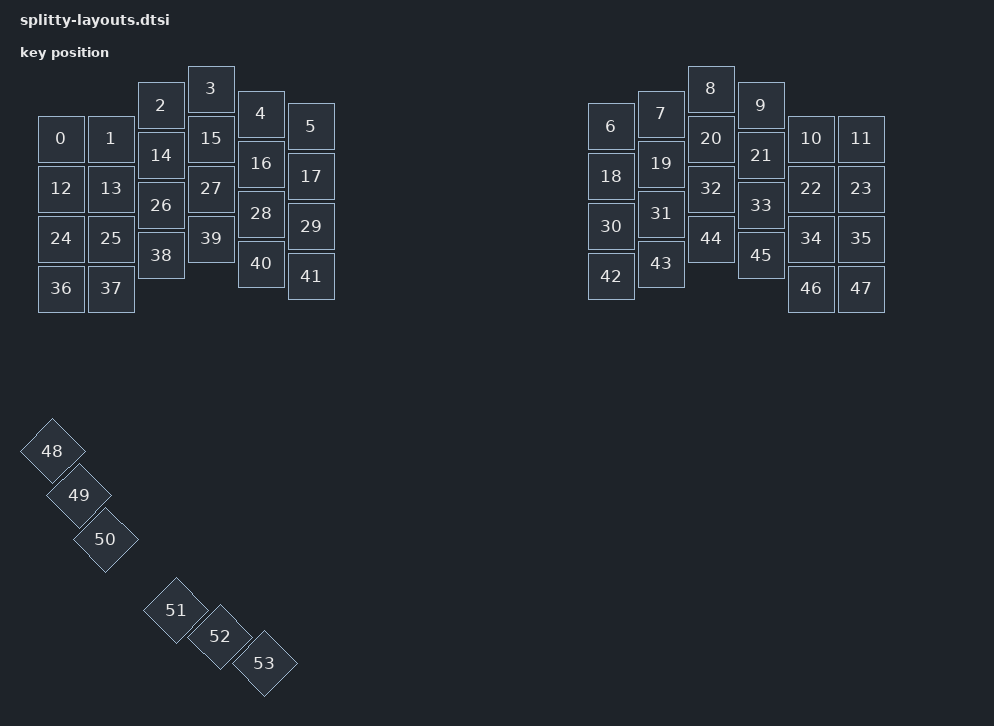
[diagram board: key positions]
#include <physical_layouts.dtsi>

/ {
  default_layout: default_layout {
    compatible = "zmk,physical-layout";
    display-name = "Default Layout";

    keys =  //               w   h    x    y     rot    rx    ry
      // Row 1 (Left)
      <&key_physical_attrs 100 100   0 100     0   0   0>,
      <&key_physical_attrs 100 100 100 100     0   0   0>,
      <&key_physical_attrs 100 100 200  33     0   0   0>,
      <&key_physical_attrs 100 100 300   0     0   0   0>,
      <&key_physical_attrs 100 100 400  50     0   0   0>,
      <&key_physical_attrs 100 100 500  75     0   0   0>,

      // Row 1 (Right)
      <&key_physical_attrs 100 100 1100  75     0   0   0>,
      <&key_physical_attrs 100 100 1200  50     0   0   0>,
      <&key_physical_attrs 100 100 1300   0     0   0   0>,
      <&key_physical_attrs 100 100 1400  33     0   0   0>,
      <&key_physical_attrs 100 100 1500 100     0   0   0>,
      <&key_physical_attrs 100 100 1600 100     0   0   0>,
      
      // Row 2 (Left)
      <&key_physical_attrs 100 100   0 200     0   0   0>,
      <&key_physical_attrs 100 100 100 200     0   0   0>,
      <&key_physical_attrs 100 100 200 133     0   0   0>,
      <&key_physical_attrs 100 100 300 100     0   0   0>,
      <&key_physical_attrs 100 100 400 150     0   0   0>,
      <&key_physical_attrs 100 100 500 175     0   0   0>,
      
      // Row 2 (Right)
      <&key_physical_attrs 100 100 1100 175     0   0   0>,
      <&key_physical_attrs 100 100 1200 150     0   0   0>,
      <&key_physical_attrs 100 100 1300 100     0   0   0>,
      <&key_physical_attrs 100 100 1400 133     0   0   0>,
      <&key_physical_attrs 100 100 1500 200     0   0   0>,
      <&key_physical_attrs 100 100 1600 200     0   0   0>,
      
      // Row 3 (Left)
      <&key_physical_attrs 100 100   0 300     0   0   0>,
      <&key_physical_attrs 100 100 100 300     0   0   0>,
      <&key_physical_attrs 100 100 200 233     0   0   0>,
      <&key_physical_attrs 100 100 300 200     0   0   0>,
      <&key_physical_attrs 100 100 400 250     0   0   0>,
      <&key_physical_attrs 100 100 500 275     0   0   0>,
      
      // Row 3 (Right)
      <&key_physical_attrs 100 100 1100 275     0   0   0>,
      <&key_physical_attrs 100 100 1200 250     0   0   0>,
      <&key_physical_attrs 100 100 1300 200     0   0   0>,
      <&key_physical_attrs 100 100 1400 233     0   0   0>,
      <&key_physical_attrs 100 100 1500 300     0   0   0>,
      <&key_physical_attrs 100 100 1600 300     0   0   0>,
      
      // Row 4 (Left)
      <&key_physical_attrs 100 100   0 400     0   0   0>,
      <&key_physical_attrs 100 100 100 400     0   0   0>,
      <&key_physical_attrs 100 100 200 333     0   0   0>,
      <&key_physical_attrs 100 100 300 300     0   0   0>,
      <&key_physical_attrs 100 100 400 350     0   0   0>,
      <&key_physical_attrs 100 100 500 375     0   0   0>,
      
      // Row 4 (Right)
      <&key_physical_attrs 100 100 1100 375     0   0   0>,
      <&key_physical_attrs 100 100 1200 350     0   0   0>,
      <&key_physical_attrs 100 100 1300 300     0   0   0>,
      <&key_physical_attrs 100 100 1400 333     0   0   0>,
      <&key_physical_attrs 100 100 1500 400     0   0   0>,
      <&key_physical_attrs 100 100 1600 400     0   0   0>,
      
      // Thumb Row (Left)
      <&key_physical_attrs 100 100 500 525  4500  50  50>,
      <&key_physical_attrs 100 100 600 550  4500  50  50>,
      <&key_physical_attrs 100 100 700 575  4500  50  50>,
      
      // Thumb Row (Right)
      <&key_physical_attrs 100 100  900 575  4500  50  50>,
      <&key_physical_attrs 100 100 1000 550  4500  50  50>,
      <&key_physical_attrs 100 100 1100 525  4500  50  50>;
    };



    // splitty_position_map {
    //   compatible = "zmk,physical-layout-position-map";

    //   complete;

    //   layout1: layout1 {
    //     physical-layout = <&default_layout>;
    //     positions =
    //       < 0  1  2  3  4  5          6  7  8  9 10 11>,
    //       <12 13 14 15 16 17         18 19 20 21 22 23>,
    //       <24 25 26 27 28 29         30 31 32 33 34 35>,
    //       <36 37 38 39 40 41         42 43 44 45 46 47>,
    //       <            48 49 50   51 52 53            >;
    //     };
    // };
};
